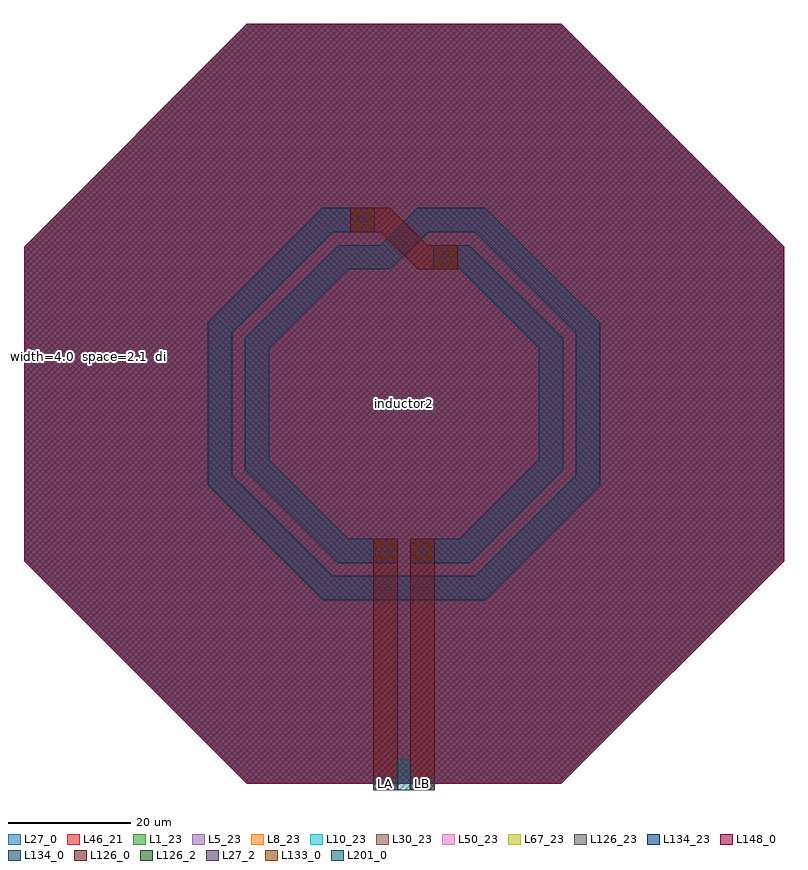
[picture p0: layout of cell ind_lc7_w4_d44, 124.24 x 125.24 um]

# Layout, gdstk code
import gdstk
lib = gdstk.Library(unit=1e-6, precision=1e-09)
def R(c, l, rs):  # rectangles x0, y0, x1, y1
    for r in rs: c.add(gdstk.rectangle(r[:2], r[2:], *l))
def P(c, l, *ps):  # polygons
    for p in ps: c.add(gdstk.Polygon(p, *l))
L1_23 = (1, 23)
L5_23 = (5, 23)
L8_23 = (8, 23)
L10_23 = (10, 23)
L27_0 = (27, 0)
L27_2 = (27, 2)
L30_23 = (30, 23)
L46_21 = (46, 21)
L50_23 = (50, 23)
L67_23 = (67, 23)
L126_0 = (126, 0)
L126_2 = (126, 2)
L126_23 = (126, 23)
L133_0 = (133, 0)
L134_0 = (134, 0)
L134_23 = (134, 23)
L148_0 = (148, 0)
L201_0 = (201, 0)

ind_lc7_w4_d44 = lib.new_cell('ind_lc7_w4_d44')
P(ind_lc7_w4_d44, L1_23, [(-25.73,0),(-62.12,36.39),(-62.12,87.85),(-25.73,124.24),(25.73,124.24),(62.12,87.85),(62.12,36.39),(25.73,0)])
P(ind_lc7_w4_d44, L5_23, [(-25.73,0),(-62.12,36.39),(-62.12,87.85),(-25.73,124.24),(25.73,124.24),(62.12,87.85),(62.12,36.39),(25.73,0)])
P(ind_lc7_w4_d44, L8_23, [(-25.73,0),(-62.12,36.39),(-62.12,87.85),(-25.73,124.24),(25.73,124.24),(62.12,87.85),(62.12,36.39),(25.73,0)])
P(ind_lc7_w4_d44, L10_23, [(-25.73,0),(-62.12,36.39),(-62.12,87.85),(-25.73,124.24),(25.73,124.24),(62.12,87.85),(62.12,36.39),(25.73,0)])
P(ind_lc7_w4_d44, L27_0, [(-25.73,0),(-62.12,36.39),(-62.12,87.85),(-25.73,124.24),(25.73,124.24),(62.12,87.85),(62.12,36.39),(25.73,0)])
R(ind_lc7_w4_d44, L27_2, [(-5.05,-1,-1.05,1), (1.05,-1,5.05,1)])
P(ind_lc7_w4_d44, L30_23, [(-25.73,0),(-62.12,36.39),(-62.12,87.85),(-25.73,124.24),(25.73,124.24),(62.12,87.85),(62.12,36.39),(25.73,0)])
P(ind_lc7_w4_d44, L46_21, [(-25.73,0),(-62.12,36.39),(-62.12,87.85),(-25.73,124.24),(25.73,124.24),(62.12,87.85),(62.12,36.39),(25.73,0)])
P(ind_lc7_w4_d44, L50_23, [(-25.73,0),(-62.12,36.39),(-62.12,87.85),(-25.73,124.24),(25.73,124.24),(62.12,87.85),(62.12,36.39),(25.73,0)])
P(ind_lc7_w4_d44, L67_23, [(-25.73,0),(-62.12,36.39),(-62.12,87.85),(-25.73,124.24),(25.73,124.24),(62.12,87.85),(62.12,36.39),(25.73,0)])
P(ind_lc7_w4_d44, L126_0, [(2.245,84.1),(-3.875,90.22),(-8.765,90.22),(-8.765,94.22),(-2.245,94.22),(3.875,88.1),(8.765,88.1),(8.765,84.1)])
R(ind_lc7_w4_d44, L126_2, [(-5.05,-1,-1.05,1), (-5.05,-1,-1.05,1), (1.05,-1,5.05,1), (1.05,-1,5.05,1)])
P(ind_lc7_w4_d44, L126_23, [(-25.73,0),(-62.12,36.39),(-62.12,87.85),(-25.73,124.24),(25.73,124.24),(62.12,87.85),(62.12,36.39),(25.73,0)])
R(ind_lc7_w4_d44, L133_0, [(-4.48,36.67,-3.58,37.57), (-2.52,36.67,-1.62,37.57), (1.62,36.67,2.52,37.57), (3.58,36.67,4.48,37.57), (-4.48,38.63,-3.58,39.53), (-2.52,38.63,-1.62,39.53), (1.62,38.63,2.52,39.53), (3.58,38.63,4.48,39.53), (5.335,84.67,6.235,85.57), (7.295,84.67,8.195,85.57), (5.335,86.63,6.235,87.53), (7.295,86.63,8.195,87.53), (-8.195,90.77,-7.295,91.67), (-6.235,90.77,-5.335,91.67), (-8.195,92.73,-7.295,93.63), (-6.235,92.73,-5.335,93.63)])
R(ind_lc7_w4_d44, L134_0, [(-4.765,30,4.765,34)])
P(ind_lc7_w4_d44, L134_0, [(1.05,36.1),(1.05,40.1),(9.11,40.1),(22,52.99),(22,71.21),(9.11,84.1),(4.765,84.1),(4.765,88.1),(10.775,88.1),(26,72.875),(26,51.325),(10.775,36.1)],
  [(-10.775,36.1),(-26,51.325),(-26,72.875),(-10.775,88.1),(-4.765,88.1),(-4.765,84.1),(-9.11,84.1),(-22,71.21),(-22,52.99),(-9.11,40.1),(-1.05,40.1),(-1.05,36.1)],
  [(-4.765,84.1),(-4.765,88.1),(-3.875,88.1),(2.245,94.22),(4.765,94.22),(4.765,90.22),(3.905,90.22),(-2.215,84.1)],
  [(4.765,30),(4.765,34),(11.64,34),(28.11,50.47),(28.11,73.75),(11.64,90.22),(4.765,90.22),(4.765,94.22),(13.305,94.22),(32.11,75.415),(32.11,48.805),(13.305,30)],
  [(-13.305,30),(-32.11,48.805),(-32.11,75.415),(-13.305,94.22),(-4.765,94.22),(-4.765,90.22),(-11.64,90.22),(-28.11,73.75),(-28.11,50.47),(-11.64,34),(-4.765,34),(-4.765,30)])
P(ind_lc7_w4_d44, L134_23, [(-25.73,0),(-62.12,36.39),(-62.12,87.85),(-25.73,124.24),(25.73,124.24),(62.12,87.85),(62.12,36.39),(25.73,0)])
P(ind_lc7_w4_d44, L148_0, [(-25.73,0),(-62.12,36.39),(-62.12,87.85),(-25.73,124.24),(25.73,124.24),(62.12,87.85),(62.12,36.39),(25.73,0)])
R(ind_lc7_w4_d44, L201_0, [(-1.05,-1,1.05,4)])
ind_lc7_w4_d44.add(gdstk.FlexPath([(3.05,-1),(3.05,40.1)], 4, ends="flush", simple_path=True, layer=126, datatype=0))  # L126_0
ind_lc7_w4_d44.add(gdstk.FlexPath([(-3.05,-1),(-3.05,40.1)], 4, ends="flush", simple_path=True, layer=126, datatype=0))  # L126_0
ind_lc7_w4_d44.add(gdstk.Label('LB', (3.05,0), layer=27, texttype=25))
ind_lc7_w4_d44.add(gdstk.Label('LA', (-3.05,0), layer=27, texttype=25))
ind_lc7_w4_d44.add(gdstk.Label('inductor2', (0,62.265), layer=63, texttype=0))
ind_lc7_w4_d44.add(gdstk.Label('  width=4.0\n  space=2.1\n  diameter=44.00\n  turns=2', (-62.12,69.795), layer=63, texttype=0))

lib.write_gds('ind_lc7_w4_d44.gds')
